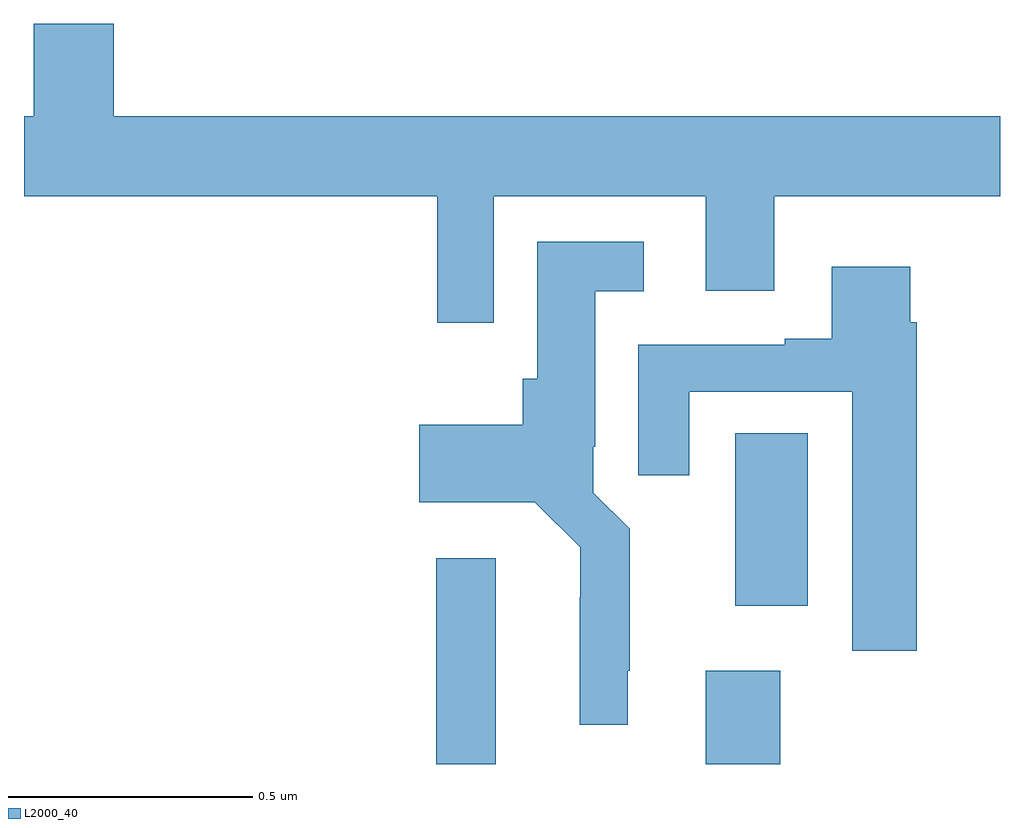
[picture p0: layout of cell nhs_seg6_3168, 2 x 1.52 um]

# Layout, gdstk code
import gdstk
lib = gdstk.Library(unit=1e-6, precision=1e-09)
def R(c, l, rs):  # rectangles x0, y0, x1, y1
    for r in rs: c.add(gdstk.rectangle(r[:2], r[2:], *l))
def P(c, l, *ps):  # polygons
    for p in ps: c.add(gdstk.Polygon(p, *l))
L2000_40 = (2000, 40)

nhs_seg6_3168 = lib.new_cell('nhs_seg6_3168')
R(nhs_seg6_3168, L2000_40, [(153.845,951.5,153.967,951.922), (154.397,951.5,154.55,951.691), (154.457,951.825,154.606,952.178)])
P(nhs_seg6_3168, L2000_40, [(153.963,952.664),(154.397,952.664),(154.397,952.47),(154.537,952.47),(154.537,952.664),(155,952.664),(155,952.828),(153.184,952.828),(153.184,953.017),(153.02,953.017),(153.02,952.828),(153,952.828),(153,952.664),(153.847,952.664),(153.847,952.404),(153.963,952.404)],
  [(154.237,951.691),(154.241,951.691),(154.241,951.982),(154.167,952.056),(154.167,952.15),(154.171,952.15),(154.171,952.469),(154.27,952.469),(154.27,952.57),(154.052,952.57),(154.052,952.29),(154.022,952.29),(154.022,952.195),(153.81,952.195),(153.81,952.037),(154.047,952.037),(154.14,951.944),(154.14,951.842),(154.139,951.842),(154.139,951.581),(154.237,951.581)],
  [(154.829,952.406),(154.816,952.406),(154.816,952.519),(154.655,952.519),(154.655,952.372),(154.559,952.372),(154.559,952.359),(154.259,952.359),(154.259,952.092),(154.363,952.092),(154.363,952.263),(154.697,952.263),(154.697,951.732),(154.829,951.732)])

lib.write_gds('nhs_seg6_3168.gds')
